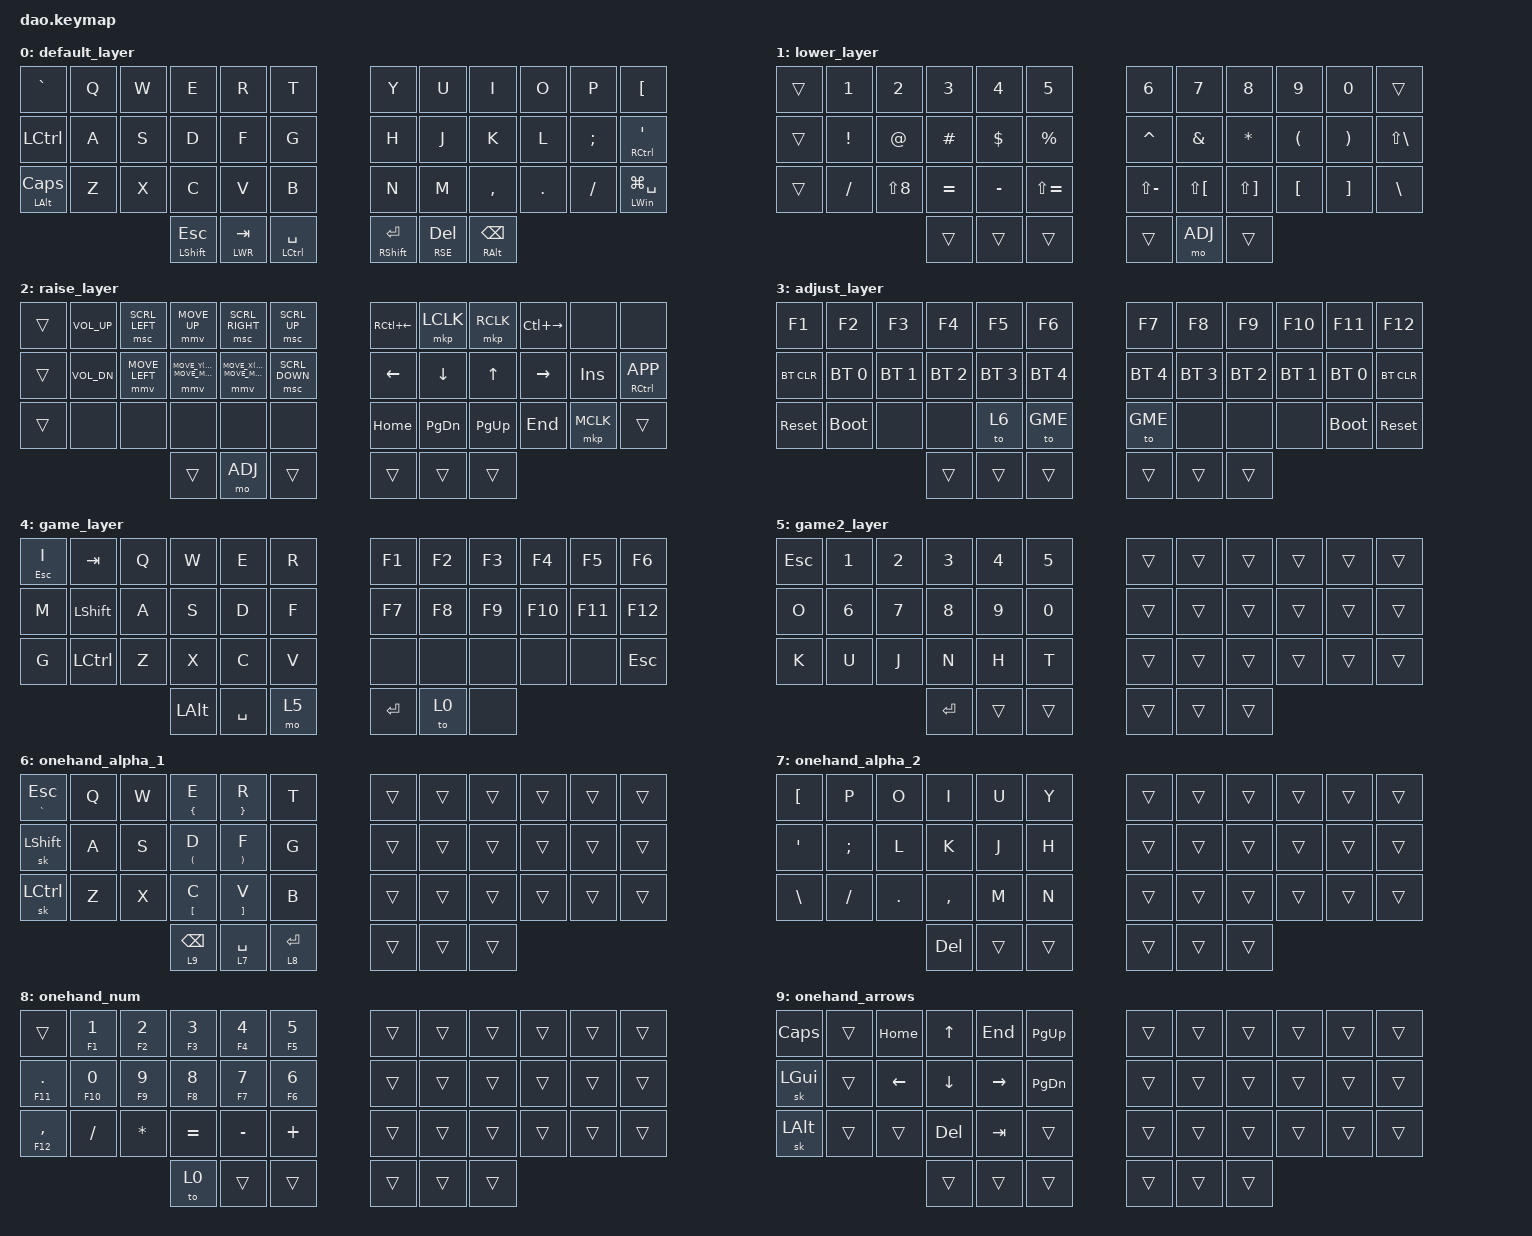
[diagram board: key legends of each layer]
/*
 * Copyright (c) 2021 Rafael Yumagulov
 *
 * SPDX-License-Identifier: MIT
 */

#include <dt-bindings/zmk/mouse.h>
#include <behaviors.dtsi>
#include <dt-bindings/zmk/bt.h>
#include <dt-bindings/zmk/keys.h>

#define DEF 0
#define LWR 1
#define RSE 2
#define ADJ 3
#define GME 4
#define GME2 5
#define U_MOUSE_MOVE_MAX 1400                     /* New max speed setting (default: 600) */

#undef MOVE_UP
#undef MOVE_DOWN
#undef MOVE_LEFT
#undef MOVE_RIGHT

#define MOVE_UP MOVE_Y(-U_MOUSE_MOVE_MAX)
#define MOVE_DOWN MOVE_Y(U_MOUSE_MOVE_MAX)
#define MOVE_LEFT MOVE_X(-U_MOUSE_MOVE_MAX)
#define MOVE_RIGHT MOVE_X(U_MOUSE_MOVE_MAX)

&lt { quick_tap_ms = <200>; };

&mt { quick_tap_ms = <200>; };

/ {
    chosen {
        zmk,matrix_transform = &default_transform;

        // zmk,matrix_transform = &extra_keys_transform;
    };
};

/ {
    keymap {
        compatible = "zmk,keymap";

        default_layer {
            bindings = <
&kp GRAVE      &kp Q  &kp W  &kp E               &kp R        &kp T            &kp Y                  &kp U        &kp I                    &kp O    &kp P     &kp LBKT
&kp LCTRL      &kp A  &kp S  &kp D               &kp F        &kp G            &kp H                  &kp J        &kp K                    &kp L    &kp SEMI  &mt RCTRL SINGLE_QUOTE
&mt LALT CAPS  &kp Z  &kp X  &kp C               &kp V        &kp B            &kp N                  &kp M        &kp COMMA                &kp DOT  &kp FSLH  &mt LEFT_WIN LG(SPACE)
                             &mt LEFT_SHIFT ESC  &lt LWR TAB  &mt LCTRL SPACE  &mt RIGHT_SHIFT ENTER  &lt RSE DEL  &mt RIGHT_ALT BACKSPACE
            >;
        };

        lower_layer {
            bindings = <
&trans  &kp NUMBER_1  &kp NUMBER_2      &kp NUMBER_3  &kp NUMBER_4  &kp N5         &kp NUMBER_6   &kp NUMBER_7          &kp NUMBER_8           &kp NUMBER_9      &kp NUMBER_0       &trans
&trans  &kp EXCL      &kp AT            &kp HASH      &kp DLLR      &kp PRCNT      &kp CARET      &kp AMPS              &kp STAR               &kp LPAR          &kp RPAR           &kp LS(BACKSLASH)
&trans  &kp SLASH     &kp LS(NUMBER_8)  &kp EQUAL     &kp MINUS     &kp LS(EQUAL)  &kp LS(MINUS)  &kp LS(LEFT_BRACKET)  &kp LS(RIGHT_BRACKET)  &kp LEFT_BRACKET  &kp RIGHT_BRACKET  &kp BACKSLASH
                                        &trans        &trans        &trans         &trans         &mo ADJ               &trans
            >;
        };

        raise_layer {
            bindings = <
&trans  &kp C_VOLUME_UP  &msc SCRL_LEFT  &mmv MOVE_UP    &msc SCRL_RIGHT  &msc SCRL_UP    &kp RC(LEFT_ARROW)  &mkp LCLK       &mkp RCLK    &kp LC(RIGHT_ARROW)  &none      &none
&trans  &kp C_VOL_DN     &mmv MOVE_LEFT  &mmv MOVE_DOWN  &mmv MOVE_RIGHT  &msc SCRL_DOWN  &kp LEFT_ARROW      &kp DOWN_ARROW  &kp UP       &kp RIGHT            &kp INS    &mt RCTRL K_APP
&trans  &none            &none           &none           &none            &none           &kp HOME            &kp PAGE_DOWN   &kp PAGE_UP  &kp END              &mkp MCLK  &trans
                                         &trans          &mo ADJ          &trans          &trans              &trans          &trans
            >;
        };

        adjust_layer {
            bindings = <
&kp F1      &kp F2        &kp F3        &kp F4        &kp F5        &kp F6        &kp F7        &kp F8        &kp F9        &kp F10       &kp F11       &kp F12
&bt BT_CLR  &bt BT_SEL 0  &bt BT_SEL 1  &bt BT_SEL 2  &bt BT_SEL 3  &bt BT_SEL 4  &bt BT_SEL 4  &bt BT_SEL 3  &bt BT_SEL 2  &bt BT_SEL 1  &bt BT_SEL 0  &bt BT_CLR
&sys_reset  &bootloader   &none         &none         &to 6         &to GME       &to GME       &none         &none         &none         &bootloader   &sys_reset
                                        &trans        &trans        &trans        &trans        &trans        &trans
            >;
        };

        game_layer {
            bindings = <
&mt ESC I  &kp TAB         &kp Q  &kp W         &kp E      &kp R  &kp F1     &kp F2  &kp F3  &kp F4   &kp F5   &kp F6
&kp M      &kp LEFT_SHIFT  &kp A  &kp S         &kp D      &kp F  &kp F7     &kp F8  &kp F9  &kp F10  &kp F11  &kp F12
&kp G      &kp LCTRL       &kp Z  &kp X         &kp C      &kp V  &none      &none   &none   &none    &none    &kp ESC
                                  &kp LEFT_ALT  &kp SPACE  &mo 5  &kp ENTER  &to 0   &none
            >;
        };

        game2_layer {
            bindings = <
&kp ESCAPE  &kp N1  &kp N2  &kp N3     &kp N4  &kp N5  &trans  &trans  &trans  &trans  &trans  &trans
&kp O       &kp N6  &kp N7  &kp N8     &kp N9  &kp N0  &trans  &trans  &trans  &trans  &trans  &trans
&kp K       &kp U   &kp J   &kp N      &kp H   &kp T   &trans  &trans  &trans  &trans  &trans  &trans
                            &kp ENTER  &trans  &trans  &trans  &trans  &trans
            >;
        };

        onehand_alpha_1 {
            bindings = <
&mt GRAVE ESC   &kp Q  &kp W  &mt LEFT_BRACE E        &mt RIGHT_BRACE R        &kp T        &trans  &trans  &trans  &trans  &trans  &trans
&sk LEFT_SHIFT  &kp A  &kp S  &mt LEFT_PARENTHESIS D  &mt RIGHT_PARENTHESIS F  &kp G        &trans  &trans  &trans  &trans  &trans  &trans
&sk LCTRL       &kp Z  &kp X  &mt LEFT_BRACKET C      &mt RIGHT_BRACKET V      &kp B        &trans  &trans  &trans  &trans  &trans  &trans
                              &lt 9 BACKSPACE         &lt 7 SPACE              &lt 8 ENTER  &trans  &trans  &trans
            >;
        };

        onehand_alpha_2 {
            bindings = <
&kp LBKT  &kp P     &kp O    &kp I      &kp U   &kp Y   &trans  &trans  &trans  &trans  &trans  &trans
&kp APOS  &kp SEMI  &kp L    &kp K      &kp J   &kp H   &trans  &trans  &trans  &trans  &trans  &trans
&kp BSLH  &kp FSLH  &kp DOT  &kp COMMA  &kp M   &kp N   &trans  &trans  &trans  &trans  &trans  &trans
                             &kp DEL    &trans  &trans  &trans  &trans  &trans
            >;
        };

        onehand_num {
            bindings = <
&trans         &mt F1 NUMBER_1   &mt F2 NUMBER_2  &mt F3 NUMBER_3  &mt F4 NUMBER_4  &mt F5 NUMBER_5  &trans  &trans  &trans  &trans  &trans  &trans
&mt F11 DOT    &mt F10 NUMBER_0  &mt F9 NUMBER_9  &mt F8 NUMBER_8  &mt F7 NUMBER_7  &mt F6 NUMBER_6  &trans  &trans  &trans  &trans  &trans  &trans
&mt F12 COMMA  &kp SLASH         &kp ASTERISK     &kp EQUAL        &kp MINUS        &kp PLUS         &trans  &trans  &trans  &trans  &trans  &trans
                                                  &to 0            &trans           &trans           &trans  &trans  &trans
            >;
        };

        onehand_arrows {
            bindings = <
&kp CAPS      &trans  &kp HOME        &kp UP_ARROW    &kp END          &kp PAGE_UP    &trans  &trans  &trans  &trans  &trans  &trans
&sk LEFT_GUI  &trans  &kp LEFT_ARROW  &kp DOWN_ARROW  &kp RIGHT_ARROW  &kp PAGE_DOWN  &trans  &trans  &trans  &trans  &trans  &trans
&sk LEFT_ALT  &trans  &trans          &kp DEL         &kp TAB          &trans         &trans  &trans  &trans  &trans  &trans  &trans
                                      &trans          &trans           &trans         &trans  &trans  &trans
            >;
        };
    };
};
